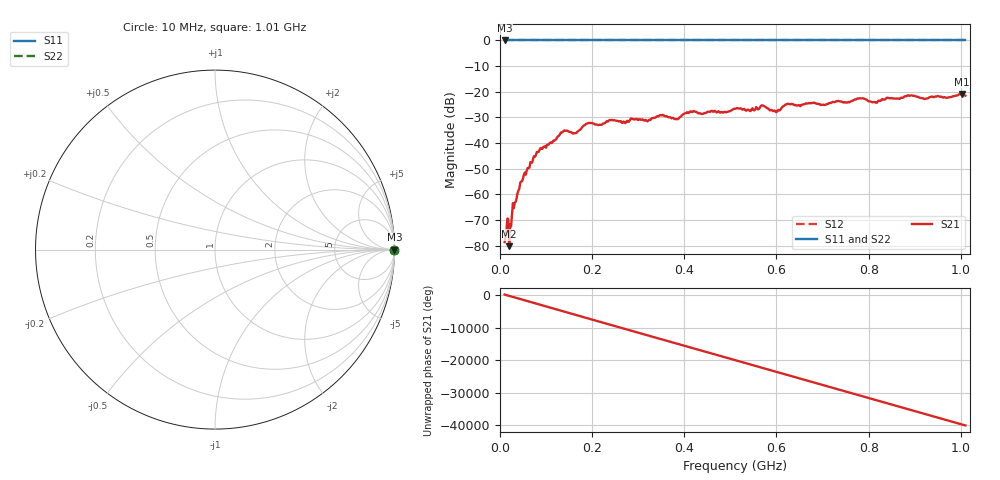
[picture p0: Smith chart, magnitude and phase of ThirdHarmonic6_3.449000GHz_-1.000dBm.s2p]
! 8/17/2025 11:08:21 AM
! C:\ANRITSUVNA\TEMP\TEMP.S2P
! CHANNEL.1
! TR.MEASUREMENT
! RAW.DATA
! RF.CORRECTION.OFF
! AVERAGING.OFF
! IF.BANDWIDTH: 5KHZ
! SWEEPTYPE:  FREQ.SWEEP(Linear)
! Reference Plane Port Info
! PORT:  PORT1  PORT2
! DISTANCE:  0  m  0  m
! TIME:  0  s  0  s
! PHASE.OFFSET:  0  deg.  0  deg.
! LOSS:  0  dB  0  dB
! REF.LOSS:  0  dB  0  dB
! REF.FREQ:  0  Hz  0  Hz
! Power Info
! POWER:  -20  dBm  -20  dBm
! EFF.POWER:  -20  dBm  -20  dBm
! SOURCE.ATTEN:  0  dB  0  dB
! TEST.ATTEN:  0  dB  0  dB
# GHZ S RI R 50.0
! FREQ.GHZ  S11RE  S11IM  S21RE  S21IM  S12RE  S12IM  S22RE  S22IM
!; PortSelection: Port_12
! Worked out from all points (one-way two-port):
!   501 points, 10 MHz to 1.01 GHz, reference 50 ohm
!   highest |S21| = -20.90 dB at 1.002 GHz (marker M1); lowest = -80.2 dB at 20 MHz (marker M2)
!   lowest |S11| = 0.0 dB at 10 MHz (marker M3)
!   |S11| at or under -10 dB: nowhere
!   |S22| runs from 0.0 to 0.0 dB; largest |S21 - S12| = 1.1
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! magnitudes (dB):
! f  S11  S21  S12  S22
! 10 MHz  0.0  -78.6  0.0  0.0
! 14 MHz  0.0  -74.0  0.0  0.0
! 20 MHz  0.0  -80.2  0.0  0.0
! 24 MHz  0.0  -72.5  0.0  0.0
! 30 MHz  0.0  -65.3  0.0  0.0
! 48 MHz  0.0  -54.8  0.0  0.0
! 78 MHz  0.0  -44.6  0.0  0.0
! 136 MHz  0.0  -35.7  0.0  0.0
! 162 MHz  0.0  -36.2  0.0  0.0
! 178 MHz  0.0  -33.8  0.0  0.0
! 344 MHz  0.0  -29.6  0.0  0.0
! 382 MHz  0.0  -30.6  0.0  0.0
! 416 MHz  0.0  -27.9  0.0  0.0
! 510 MHz  0.0  -26.6  0.0  0.0
! 570 MHz  0.0  -25.3  0.0  0.0
! 596 MHz  0.0  -27.3  0.0  0.0
! 624 MHz  0.0  -24.6  0.0  0.0
! 678 MHz  0.0  -24.4  0.0  0.0
! 814 MHz  0.0  -24.0  0.0  0.0
! 844 MHz  0.0  -22.5  0.0  0.0
! 1.002 GHz  0.0  -20.9  0.0  0.0
! 1.01 GHz  0.0  -21.5  0.0  0.0
